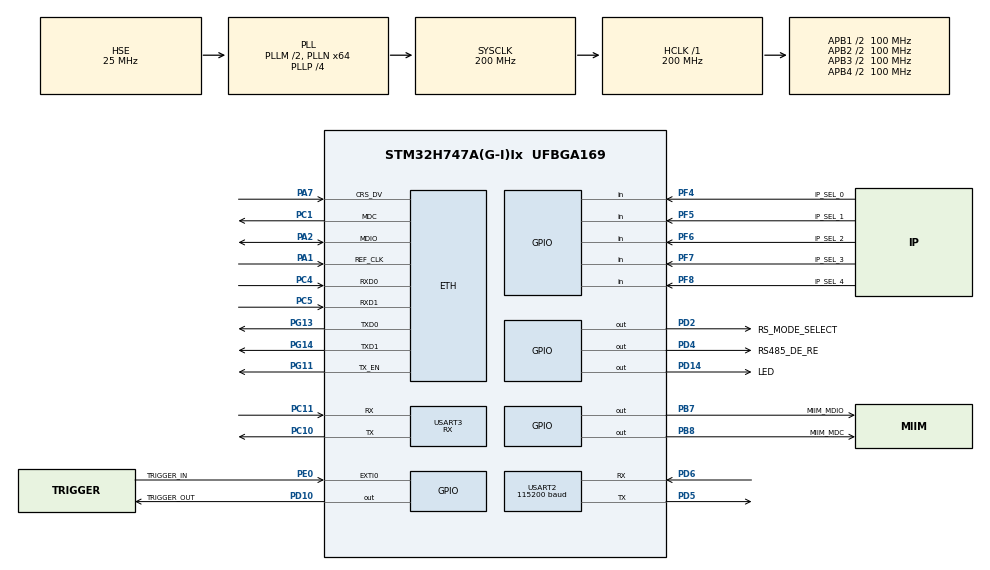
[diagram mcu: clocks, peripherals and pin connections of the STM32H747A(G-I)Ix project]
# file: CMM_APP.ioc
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ADC3.Channel-1\#ChannelRegularConversion=ADC_CHANNEL_TEMPSENSOR
ADC3.ClockPrescalerADC3=ADC_CLOCK_ASYNC_DIV1
ADC3.NbrOfConversionFlag=1
ADC3.OffsetNumber-1\#ChannelRegularConversion=ADC_OFFSET_NONE
ADC3.OffsetSignedSaturation-1\#ChannelRegularConversion=DISABLE
ADC3.Rank-1\#ChannelRegularConversion=1
ADC3.SamplingTime-1\#ChannelRegularConversion=ADC_SAMPLETIME_810CYCLES_5
CORTEX_M7.AccessPermission_S-Cortex_Memory_Protection_Unit_Region1_Settings_S=MPU_REGION_FULL_ACCESS
CORTEX_M7.AccessPermission_S-Cortex_Memory_Protection_Unit_Region2_Settings_S=MPU_REGION_FULL_ACCESS
CORTEX_M7.BaseAddress_S-Cortex_Memory_Protection_Unit_Region1_Settings_S=0x30020000
CORTEX_M7.BaseAddress_S-Cortex_Memory_Protection_Unit_Region2_Settings_S=0x30040000
CORTEX_M7.CPU_DCache=Enabled
CORTEX_M7.CPU_ICache=Enabled
CORTEX_M7.DisableExec_S-Cortex_Memory_Protection_Unit_Region1_Settings_S=MPU_INSTRUCTION_ACCESS_DISABLE
CORTEX_M7.DisableExec_S-Cortex_Memory_Protection_Unit_Region2_Settings_S=MPU_INSTRUCTION_ACCESS_DISABLE
CORTEX_M7.Enable_S-Cortex_Memory_Protection_Unit_Region1_Settings_S=MPU_REGION_ENABLE
CORTEX_M7.Enable_S-Cortex_Memory_Protection_Unit_Region2_Settings_S=MPU_REGION_ENABLE
CORTEX_M7.IsBufferable_S-Cortex_Memory_Protection_Unit_Region2_Settings_S=MPU_ACCESS_BUFFERABLE
CORTEX_M7.IsShareable_S-Cortex_Memory_Protection_Unit_Region2_Settings_S=MPU_ACCESS_SHAREABLE
CORTEX_M7.Size_S-Cortex_Memory_Protection_Unit_Region1_Settings_S=MPU_REGION_SIZE_128KB
CORTEX_M7.Size_S-Cortex_Memory_Protection_Unit_Region2_Settings_S=MPU_REGION_SIZE_512B
CORTEX_M7.TypeExtField_S-Cortex_Memory_Protection_Unit_Region1_Settings_S=MPU_TEX_LEVEL1
CORTEX_M7.default_mode_Activation=1
CortexM4.IPs=CORTEX_M4\:I,FATFS_M4\:I,FREERTOS_M4\:I,IWDG2\:I,OPENAMP_M4\:I,PDM2PCM_M4\:I,PWR,RCC,RESMGR_UTILITY,SYS_M4\:I,USB_DEVICE_M4\:I,USB_HOST_M4\:I,VREFBUF,WWDG2\:I,GPIO,DMA,BDMA,MDMA,NVIC2\:I
CortexM7.IPs=CORTEX_M7\:I,FATFS_M7\:I,FREERTOS_M7\:I,IWDG1\:I,OPENAMP_M7\:I,PDM2PCM_M7\:I,PWR\:I,RCC\:I,RESMGR_UTILITY\:I,SYS\:I,USB_DEVICE_M7\:I,USB_HOST_M7\:I,VREFBUF\:I,WWDG1\:I,GPIO\:I,DMA\:I,BDMA\:I,MDMA\:I,NVIC1\:I,ETH\:I,LWIP\:I,TIM1\:I,DEBUG\:I,USART2\:I,USART3\:I,ADC3\:I,TIM6\:I
CortexM7.Pins=PB7,PE0,PB8,PD4,PD2,PF4,PF5,PF6,PF7,PF8,PD14,PD10
Dma.Request0=USART3_RX
Dma.Request1=USART2_RX
Dma.USART2_RX.1.Direction=DMA_PERIPH_TO_MEMORY
Dma.USART2_RX.1.EventEnable=DISABLE
Dma.USART2_RX.1.FIFOMode=DMA_FIFOMODE_ENABLE
Dma.USART2_RX.1.FIFOThreshold=DMA_FIFO_THRESHOLD_1QUARTERFULL
Dma.USART2_RX.1.Instance=DMA1_Stream1
Dma.USART2_RX.1.MemBurst=DMA_MBURST_SINGLE
Dma.USART2_RX.1.MemDataAlignment=DMA_MDATAALIGN_BYTE
Dma.USART2_RX.1.MemInc=DMA_MINC_ENABLE
Dma.USART2_RX.1.Mode=DMA_CIRCULAR
Dma.USART2_RX.1.PeriphBurst=DMA_PBURST_SINGLE
Dma.USART2_RX.1.PeriphDataAlignment=DMA_PDATAALIGN_BYTE
Dma.USART2_RX.1.PeriphInc=DMA_PINC_DISABLE
Dma.USART2_RX.1.Polarity=HAL_DMAMUX_REQ_GEN_RISING
Dma.USART2_RX.1.Priority=DMA_PRIORITY_HIGH
Dma.USART2_RX.1.RequestNumber=1
Dma.USART2_RX.1.SignalID=NONE
Dma.USART2_RX.1.SyncEnable=DISABLE
Dma.USART2_RX.1.SyncPolarity=HAL_DMAMUX_SYNC_NO_EVENT
Dma.USART2_RX.1.SyncRequestNumber=1
Dma.USART2_RX.1.SyncSignalID=NONE
Dma.USART3_RX.0.Direction=DMA_PERIPH_TO_MEMORY
Dma.USART3_RX.0.EventEnable=DISABLE
Dma.USART3_RX.0.FIFOMode=DMA_FIFOMODE_ENABLE
Dma.USART3_RX.0.FIFOThreshold=DMA_FIFO_THRESHOLD_1QUARTERFULL
Dma.USART3_RX.0.Instance=DMA1_Stream0
Dma.USART3_RX.0.MemBurst=DMA_MBURST_SINGLE
Dma.USART3_RX.0.MemDataAlignment=DMA_MDATAALIGN_BYTE
Dma.USART3_RX.0.MemInc=DMA_MINC_ENABLE
Dma.USART3_RX.0.Mode=DMA_CIRCULAR
Dma.USART3_RX.0.PeriphBurst=DMA_PBURST_SINGLE
Dma.USART3_RX.0.PeriphDataAlignment=DMA_PDATAALIGN_BYTE
Dma.USART3_RX.0.PeriphInc=DMA_PINC_DISABLE
Dma.USART3_RX.0.Polarity=HAL_DMAMUX_REQ_GEN_RISING
Dma.USART3_RX.0.Priority=DMA_PRIORITY_HIGH
Dma.USART3_RX.0.RequestNumber=1
Dma.USART3_RX.0.SignalID=NONE
Dma.USART3_RX.0.SyncEnable=DISABLE
Dma.USART3_RX.0.SyncPolarity=HAL_DMAMUX_SYNC_NO_EVENT
Dma.USART3_RX.0.SyncRequestNumber=1
Dma.USART3_RX.0.SyncSignalID=NONE
ETH.MACAddr=00\:80\:E1\:00\:08\:04
ETH.MediaInterface=HAL_ETH_RMII_MODE
ETH.RxBufferAddress=0x30040200
ETH.RxDescAddress=0x30040000
ETH.TxDescAddress=0x30040100
FREERTOS_M7.Tasks01=defaultTask,24,512,StartDefaultTask,Default,NULL,Dynamic,NULL,NULL;blinkTask,24,512,StartBlinkTask,Default,NULL,Dynamic,NULL,NULL
FREERTOS_M7.configMINIMAL_STACK_SIZE=512
FREERTOS_M7.configTOTAL_HEAP_SIZE=30720
FREERTOS_M7.configUSE_NEWLIB_REENTRANT=1
LWIP.BSP.number=1
LWIP.IP_ADDRESS=192.168.035.084
LWIP.LWIP_BROADCAST_PING=1
LWIP.LWIP_DBG_MIN_LEVEL=LWIP_DBG_MASK_LEVEL
LWIP.LWIP_DHCP=0
LWIP.LWIP_ICMP=1
LWIP.LWIP_MULTICAST_PING=1
LWIP.LWIP_NETCONN_SEM_PER_THREAD=0
LWIP.LWIP_NETIF_HOSTNAME=0
LWIP.LWIP_PERF=0
LWIP.LWIP_RAM_HEAP_POINTER=0x30020000
LWIP.LWIP_SO_RCVBUF=1
LWIP.LWIP_SO_RCVTIMEO=1
LWIP.LWIP_TCPIP_CORE_LOCKING=1
LWIP.LWIP_TCPIP_CORE_LOCKING_INPUT=0
LWIP.MEMP_NUM_SYS_TIMEOUT=300
LWIP.MEMP_NUM_TCP_PCB=50
LWIP.MEM_SIZE=131048
LWIP.NETMASK_ADDRESS=255.255.255.000
LWIP.PBUF_POOL_SIZE=32
LWIP.TCPIP_MBOX_SIZE=16
LWIP.TCPIP_THREAD_STACKSIZE=4096
LWIP.Version=v2.1.2_Cube
LWIP0.BSP.STBoard=false
LWIP0.BSP.api=BSP_COMPONENT_DRIVER
LWIP0.BSP.component=LAN8742
LWIP0.BSP.instance=LAN8742
LWIP0.BSP.name=Driver_PHY
LWIP0.BSP.semaphore=S_LAN8742
LWIP0.BSP.solution=LAN8742
Mcu.Family=STM32H7
Mcu.Name=STM32H747A(G-I)Ix
Mcu.Package=UFBGA169
NVIC1.DMA1_Stream0_IRQn=true\:5\:0\:false\:false\:true\:true\:false\:true\:true
NVIC1.DMA1_Stream1_IRQn=true\:5\:0\:false\:false\:true\:true\:false\:true\:true
NVIC1.ETH_IRQn=true\:5\:0\:false\:false\:true\:true\:true\:true\:true
NVIC1.EXTI0_IRQn=true\:5\:0\:true\:true\:true\:1\:true\:true\:true\:true
NVIC1.PriorityGroup=NVIC_PRIORITYGROUP_4
NVIC1.TIM6_DAC_IRQn=true\:15\:0\:false\:false\:true\:false\:false\:true\:true
NVIC1.TimeBase=TIM6_DAC_IRQn
NVIC1.TimeBaseIP=TIM6
NVIC1.USART2_IRQn=true\:5\:0\:false\:false\:true\:true\:true\:true\:true
NVIC1.USART3_IRQn=true\:5\:0\:false\:false\:true\:true\:true\:true\:true
NVIC2.PriorityGroup=NVIC_PRIORITYGROUP_4
PA1.GPIO_Speed=GPIO_SPEED_FREQ_VERY_HIGH
PA1.Mode=RMII
PA1.PinAttribute=CortexM7
PA1.Signal=ETH_REF_CLK
PA13\ (JTMS/SWDIO).Mode=Serial_Wire
PA13\ (JTMS/SWDIO).PinAttribute=CortexM7
PA13\ (JTMS/SWDIO).Signal=DEBUG_JTMS-SWDIO
PA14\ (JTCK/SWCLK).Mode=Serial_Wire
PA14\ (JTCK/SWCLK).PinAttribute=CortexM7
PA14\ (JTCK/SWCLK).Signal=DEBUG_JTCK-SWCLK
PA2.GPIO_Speed=GPIO_SPEED_FREQ_VERY_HIGH
PA2.Mode=RMII
PA2.PinAttribute=CortexM7
PA2.Signal=ETH_MDIO
PA7.GPIO_Speed=GPIO_SPEED_FREQ_VERY_HIGH
PA7.Mode=RMII
PA7.PinAttribute=CortexM7
PA7.Signal=ETH_CRS_DV
PB7.GPIO_Label=MIIM_MDIO
PB7.GPIO_Speed=GPIO_SPEED_FREQ_VERY_HIGH
PB7.PinAttribute=CortexM7
PB7.Signal=GPIO_Output
PB8.GPIO_Label=MIIM_MDC
PB8.GPIO_PuPd=GPIO_PULLDOWN
PB8.GPIO_Speed=GPIO_SPEED_FREQ_VERY_HIGH
PB8.PinAttribute=CortexM7
PB8.Signal=GPIO_Output
PC1.GPIO_Speed=GPIO_SPEED_FREQ_VERY_HIGH
PC1.Mode=RMII
PC1.PinAttribute=CortexM7
PC1.Signal=ETH_MDC
PC10.GPIO_ModeDefaultPP=GPIO_MODE_AF_PP
PC10.GPIO_PuPd=GPIO_NOPULL
PC10.GPIO_Speed=GPIO_SPEED_FREQ_LOW
PC10.Mode=Asynchronous
PC10.PinAttribute=CortexM7
PC10.Signal=USART3_TX
PC11.GPIO_ModeDefaultPP=GPIO_MODE_AF_PP
PC11.GPIO_PuPd=GPIO_NOPULL
PC11.GPIO_Speed=GPIO_SPEED_FREQ_LOW
PC11.Mode=Asynchronous
PC11.PinAttribute=CortexM7
PC11.Signal=USART3_RX
PC14-OSC32_IN\ (OSC32_IN).Mode=LSE-External-Clock-Source
PC14-OSC32_IN\ (OSC32_IN).PinAttribute=Free
PC14-OSC32_IN\ (OSC32_IN).Signal=RCC_OSC32_IN
PC4.GPIO_Speed=GPIO_SPEED_FREQ_VERY_HIGH
PC4.Mode=RMII
PC4.PinAttribute=CortexM7
PC4.Signal=ETH_RXD0
PC5.GPIO_Speed=GPIO_SPEED_FREQ_VERY_HIGH
PC5.Mode=RMII
PC5.PinAttribute=CortexM7
PC5.Signal=ETH_RXD1
PD10.GPIO_Label=TRIGGER_OUT
PD10.GPIO_PuPd=GPIO_PULLDOWN
PD10.GPIO_Speed=GPIO_SPEED_FREQ_VERY_HIGH
PD10.PinAttribute=CortexM7
PD10.Signal=GPIO_Output
PD14.GPIO_Label=LED
PD14.PinAttribute=CortexM7
PD14.Signal=GPIO_Output
PD2.GPIO_Label=RS_MODE_SELECT
PD2.GPIO_PuPd=GPIO_PULLDOWN
PD2.PinAttribute=CortexM7
PD2.Signal=GPIO_Output
PD4.GPIO_Label=RS485_DE_RE
PD4.GPIO_PuPd=GPIO_PULLDOWN
PD4.PinAttribute=CortexM7
PD4.Signal=GPIO_Output
PD5.Mode=Asynchronous
PD5.PinAttribute=CortexM7
PD5.Signal=USART2_TX
PD6.Mode=Asynchronous
PD6.PinAttribute=CortexM7
PD6.Signal=USART2_RX
PE0.GPIO_Label=TRIGGER_IN
PE0.GPIO_ModeDefaultEXTI=GPIO_MODE_IT_RISING_FALLING
PE0.PinAttribute=CortexM7
PE0.Signal=GPXTI0
PF4.GPIO_Label=IP_SEL_0
PF4.GPIO_PuPd=GPIO_PULLDOWN
PF4.PinAttribute=CortexM7
PF4.Signal=GPIO_Input
PF5.GPIO_Label=IP_SEL_1
PF5.GPIO_PuPd=GPIO_PULLDOWN
PF5.PinAttribute=CortexM7
PF5.Signal=GPIO_Input
PF6.GPIO_Label=IP_SEL_2
PF6.GPIO_PuPd=GPIO_PULLDOWN
PF6.PinAttribute=CortexM7
PF6.Signal=GPIO_Input
PF7.GPIO_Label=IP_SEL_3
PF7.GPIO_PuPd=GPIO_PULLDOWN
PF7.PinAttribute=CortexM7
PF7.Signal=GPIO_Input
PF8.GPIO_Label=IP_SEL_4
PF8.GPIO_PuPd=GPIO_PULLDOWN
PF8.PinAttribute=CortexM7
PF8.Signal=GPIO_Input
PG11.GPIO_Speed=GPIO_SPEED_FREQ_VERY_HIGH
PG11.Mode=RMII
PG11.PinAttribute=CortexM7
PG11.Signal=ETH_TX_EN
PG13.GPIO_Speed=GPIO_SPEED_FREQ_VERY_HIGH
PG13.Mode=RMII
PG13.PinAttribute=CortexM7
PG13.Signal=ETH_TXD0
PG14.GPIO_Speed=GPIO_SPEED_FREQ_VERY_HIGH
PG14.Mode=RMII
PG14.PinAttribute=CortexM7
PG14.Signal=ETH_TXD1
PH0-OSC_IN\ (PH0).Mode=HSE-External-Clock-Source
PH0-OSC_IN\ (PH0).PinAttribute=Free
PH0-OSC_IN\ (PH0).Signal=RCC_OSC_IN
ProjectManager.HeapSize=M4-0x200,M7-0x200
ProjectManager.StackSize=M4-0x400,M7-0x400
ProjectManager.TargetToolchain=STM32CubeIDE
RCC.ADCFreq_Value=50000000
RCC.APB1Freq_Value=100000000
RCC.APB2Freq_Value=100000000
RCC.APB3Freq_Value=100000000
RCC.APB4Freq_Value=100000000
RCC.CortexFreq_Value=200000000
RCC.D1PPRE=RCC_APB3_DIV2
RCC.D2PPRE1=RCC_APB1_DIV2
RCC.D2PPRE2=RCC_APB2_DIV2
RCC.D3PPRE=RCC_APB4_DIV2
RCC.DIVM1=2
RCC.DIVM2=2
RCC.DIVM3=2
RCC.DIVN1=64
RCC.DIVN2=64
RCC.DIVN3=64
RCC.DIVP1=4
RCC.DIVP2=16
RCC.DIVR1=4
RCC.HCLKFreq_Value=200000000
RCC.PLLSourceVirtual=RCC_PLLSOURCE_HSE
RCC.PWR_Regulator_Voltage_Scale=PWR_REGULATOR_VOLTAGE_SCALE0
RCC.SYSCLKFreq_VALUE=200000000
RCC.SYSCLKSource=RCC_SYSCLKSOURCE_PLLCLK
RCC.SupplySource=PWR_LDO_SUPPLY
RCC.USBFreq_Value=400000000
SYS.userName=SYS_M7
TIM1.AutoReloadPreload=TIM_AUTORELOAD_PRELOAD_ENABLE
TIM1.Prescaler=59
USART2.AutoBaudRateEnableParam=UART_ADVFEATURE_AUTOBAUDRATE_DISABLE
USART2.BaudRate=115200
USART2.DataInvertParam=ADVFEATURE_DATAINV_DISABLE
USART2.VirtualMode-Asynchronous=VM_ASYNC
USART3.AutoBaudRateEnableParam=UART_ADVFEATURE_AUTOBAUDRATE_DISABLE
USART3.Mode=MODE_RX
USART3.VirtualMode-Asynchronous=VM_ASYNC
VP_ADC3_TempSens_Input.Mode=IN-TempSens
VP_FREERTOS_M7_VS_CMSIS_V2.Mode=CMSIS_V2
VP_LWIP_VS_Enabled.Mode=Enabled
VP_SYS_M4_VS_Systick.Mode=SysTick
VP_SYS_VS_tim6.Mode=TIM6
VP_TIM1_VS_ClockSourceINT.Mode=Internal
board=custom

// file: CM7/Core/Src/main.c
/* USER CODE BEGIN Header */
/**
  ******************************************************************************
  * @file           : main.c
  * @brief          : Main program body
  ******************************************************************************
  * @attention
  *
  * Copyright (c) 2024 STMicroelectronics.
  * All rights reserved.
  *
  * This software is licensed under terms that can be found in the LICENSE file
  * in the root directory of this software component.
  * If no LICENSE file comes with this software, it is provided AS-IS.
  *
  ******************************************************************************
  */
/* USER CODE END Header */
#include "main.h"
#include "cmsis_os.h"
#include "lwip.h"

/* USER CODE BEGIN Includes */
#include "miim_library.h"
#include "lwiperf.h"
#include "serial_comm.h"
#include "udpclient.h"
#include "MQTTClient.h"
#include "MQTTTopic.h"
#include "mqtt_opts.h"
/* USER CODE END Includes */

/* USER CODE BEGIN PTD */
extern mqtt_client_t* mqtt_client;  // Declare the external MQTT client instance
int _write(int file, char *ptr, int len)
{
  int DataIdx;

  for (DataIdx = 0; DataIdx < len; DataIdx++)
  {
    ITM_SendChar(*ptr++);
  }
  return len;
}
/* USER CODE END PTD */

/* USER CODE BEGIN PD */

#ifndef HSEM_ID_0
#define HSEM_ID_0 (0U) /* HW semaphore 0*/
#endif

// Calibration values for temperature sensor from STM32 datasheet
#define TS_CAL1_ADDR ((uint16_t*) 0x1FF1E820) // Address for TS_CAL1
#define TS_CAL2_ADDR ((uint16_t*) 0x1FF1E840) // Address for TS_CAL2
#define MY_TS_CAL1_TEMP 30.0f  // Calibration temperature for TS_CAL1 (30°C)
#define MY_TS_CAL2_TEMP 110.0f // Calibration temperature for TS_CAL2 (110°C)

/* USER CODE END PD */

ADC_HandleTypeDef hadc3;

TIM_HandleTypeDef htim1;

UART_HandleTypeDef huart2;
UART_HandleTypeDef huart3;
DMA_HandleTypeDef hdma_usart2_rx;
DMA_HandleTypeDef hdma_usart3_rx;

/* Definitions for defaultTask */
osThreadId_t defaultTaskHandle;
const osThreadAttr_t defaultTask_attributes = {
  .name = "defaultTask",
  .stack_size = 512 * 4,
  .priority = (osPriority_t) osPriorityNormal,
};
/* Definitions for blinkTask */
osThreadId_t blinkTaskHandle;
const osThreadAttr_t blinkTask_attributes = {
  .name = "blinkTask",
  .stack_size = 512 * 4,
  .priority = (osPriority_t) osPriorityNormal,
};
/* USER CODE BEGIN PV */
int slot = 0;  // Define the global variable for the slot number
/* USER CODE END PV */

void SystemClock_Config(void);
static void MPU_Config(void);
static void MX_GPIO_Init(void);
static void MX_DMA_Init(void);
static void MX_TIM1_Init(void);
static void MX_USART2_UART_Init(void);
static void MX_USART3_UART_Init(void);
static void MX_ADC3_Init(void);
void StartDefaultTask(void *argument);
void StartBlinkTask(void *argument);

static void MX_NVIC_Init(void);

int main(void)
{

  /* USER CODE BEGIN 1 */
//    __HAL_RCC_TIM6_CLK_ENABLE();
//    __HAL_RCC_TIM6_FORCE_RESET();
//    __HAL_RCC_TIM6_RELEASE_RESET();
  /* USER CODE END 1 */
/* USER CODE BEGIN Boot_Mode_Sequence_0 */
  int32_t timeout;
/* USER CODE END Boot_Mode_Sequence_0 */

  /* MPU Configuration--------------------------------------------------------*/
  MPU_Config();

  /* Enable the CPU Cache */
  SCB->VTOR = 0x08100000;

  /* Enable I-Cache---------------------------------------------------------*/
  SCB_EnableICache();

  /* Enable D-Cache---------------------------------------------------------*/
  SCB_EnableDCache();

/* USER CODE BEGIN Boot_Mode_Sequence_1 */
  /* Wait until CPU2 boots and enters in stop mode or timeout*/
//  timeout = 0xFFFF;
//  while((__HAL_RCC_GET_FLAG(RCC_FLAG_D2CKRDY) != RESET) && (timeout-- > 0));
//  if ( timeout < 0 )
//  {
//  Error_Handler();
//  }
/* USER CODE END Boot_Mode_Sequence_1 */
  /* MCU Configuration--------------------------------------------------------*/

  /* Reset of all peripherals, Initializes the Flash interface and the Systick. */
  HAL_Init();

  /* Configure the system clock */
  SystemClock_Config();
/* USER CODE BEGIN Boot_Mode_Sequence_2 */
/* When system initialization is finished, Cortex-M7 will release Cortex-M4 by means of
HSEM notification */
/*HW semaphore Clock enable*/
//__HAL_RCC_HSEM_CLK_ENABLE();
///*Take HSEM */
//HAL_HSEM_FastTake(HSEM_ID_0);
///*Release HSEM in order to notify the CPU2(CM4)*/
//HAL_HSEM_Release(HSEM_ID_0,0);
///* wait until CPU2 wakes up from stop mode */
//timeout = 0xFFFF;
//while((__HAL_RCC_GET_FLAG(RCC_FLAG_D2CKRDY) == RESET) && (timeout-- > 0));
//if ( timeout < 0 )
//{
//Error_Handler();
//}
/* USER CODE END Boot_Mode_Sequence_2 */

  /* Initialize all configured peripherals */
  MX_GPIO_Init();
  MX_DMA_Init();
  MX_TIM1_Init();
  MX_USART2_UART_Init();
  MX_USART3_UART_Init();
  MX_ADC3_Init();

  /* Initialize interrupts */
  MX_NVIC_Init();
  /* USER CODE BEGIN 2 */
  printf("Initializing\n");
  /* USER CODE END 2 */

  /* Init scheduler */
  osKernelInitialize();

  /* Create the thread(s) */
  /* creation of defaultTask */
  defaultTaskHandle = osThreadNew(StartDefaultTask, NULL, &defaultTask_attributes);

  /* creation of blinkTask */
  blinkTaskHandle = osThreadNew(StartBlinkTask, NULL, &blinkTask_attributes);

  /* Start scheduler */
  osKernelStart();

  /* We should never get here as control is now taken by the scheduler */

  /* Infinite loop */
  while (1)
  {

  }
}

void SystemClock_Config(void)
{
  RCC_OscInitTypeDef RCC_OscInitStruct = {0};
  RCC_ClkInitTypeDef RCC_ClkInitStruct = {0};

  /** Supply configuration update enable
  */
  HAL_PWREx_ConfigSupply(PWR_LDO_SUPPLY);

  /** Configure the main internal regulator output voltage
  */
  __HAL_PWR_VOLTAGESCALING_CONFIG(PWR_REGULATOR_VOLTAGE_SCALE1);

  while(!__HAL_PWR_GET_FLAG(PWR_FLAG_VOSRDY)) {}

  __HAL_RCC_SYSCFG_CLK_ENABLE();
  __HAL_PWR_VOLTAGESCALING_CONFIG(PWR_REGULATOR_VOLTAGE_SCALE0);

  while(!__HAL_PWR_GET_FLAG(PWR_FLAG_VOSRDY)) {}

  /** Initializes the RCC Oscillators according to the specified parameters
  * in the RCC_OscInitTypeDef structure.
  */
  RCC_OscInitStruct.OscillatorType = RCC_OSCILLATORTYPE_HSE;
  RCC_OscInitStruct.HSEState = RCC_HSE_BYPASS;
  RCC_OscInitStruct.PLL.PLLState = RCC_PLL_ON;
  RCC_OscInitStruct.PLL.PLLSource = RCC_PLLSOURCE_HSE;
  RCC_OscInitStruct.PLL.PLLM = 2;
  RCC_OscInitStruct.PLL.PLLN = 64;
  RCC_OscInitStruct.PLL.PLLP = 4;
  RCC_OscInitStruct.PLL.PLLQ = 2;
  RCC_OscInitStruct.PLL.PLLR = 4;
  RCC_OscInitStruct.PLL.PLLRGE = RCC_PLL1VCIRANGE_3;
  RCC_OscInitStruct.PLL.PLLVCOSEL = RCC_PLL1VCOWIDE;
  RCC_OscInitStruct.PLL.PLLFRACN = 0;
  if (HAL_RCC_OscConfig(&RCC_OscInitStruct) != HAL_OK)
  {
    Error_Handler();
  }

  /** Initializes the CPU, AHB and APB buses clocks
  */
  RCC_ClkInitStruct.ClockType = RCC_CLOCKTYPE_HCLK|RCC_CLOCKTYPE_SYSCLK
                              |RCC_CLOCKTYPE_PCLK1|RCC_CLOCKTYPE_PCLK2
                              |RCC_CLOCKTYPE_D3PCLK1|RCC_CLOCKTYPE_D1PCLK1;
  RCC_ClkInitStruct.SYSCLKSource = RCC_SYSCLKSOURCE_PLLCLK;
  RCC_ClkInitStruct.SYSCLKDivider = RCC_SYSCLK_DIV1;
  RCC_ClkInitStruct.AHBCLKDivider = RCC_HCLK_DIV1;
  RCC_ClkInitStruct.APB3CLKDivider = RCC_APB3_DIV2;
  RCC_ClkInitStruct.APB1CLKDivider = RCC_APB1_DIV2;
  RCC_ClkInitStruct.APB2CLKDivider = RCC_APB2_DIV2;
  RCC_ClkInitStruct.APB4CLKDivider = RCC_APB4_DIV2;

  if (HAL_RCC_ClockConfig(&RCC_ClkInitStruct, FLASH_LATENCY_2) != HAL_OK)
  {
    Error_Handler();
  }
}

/**
  * @brief NVIC Configuration.
  * @retval None
  */
static void MX_NVIC_Init(void)
{
  /* EXTI0_IRQn interrupt configuration */
  HAL_NVIC_SetPriority(EXTI0_IRQn, 5, 0);
  HAL_NVIC_EnableIRQ(EXTI0_IRQn);
}

static void MX_ADC3_Init(void)
{

  ADC_ChannelConfTypeDef sConfig = {0};

  /** Common config
  */
  hadc3.Instance = ADC3;
  hadc3.Init.ClockPrescaler = ADC_CLOCK_ASYNC_DIV1;
  hadc3.Init.ScanConvMode = ADC_SCAN_DISABLE;
  hadc3.Init.EOCSelection = ADC_EOC_SINGLE_CONV;
  hadc3.Init.LowPowerAutoWait = DISABLE;
  hadc3.Init.ContinuousConvMode = DISABLE;
  hadc3.Init.NbrOfConversion = 1;
  hadc3.Init.DiscontinuousConvMode = DISABLE;
  hadc3.Init.ExternalTrigConv = ADC_SOFTWARE_START;
  hadc3.Init.ExternalTrigConvEdge = ADC_EXTERNALTRIGCONVEDGE_NONE;
  hadc3.Init.ConversionDataManagement = ADC_CONVERSIONDATA_DR;
  hadc3.Init.Overrun = ADC_OVR_DATA_PRESERVED;
  hadc3.Init.LeftBitShift = ADC_LEFTBITSHIFT_NONE;
  hadc3.Init.OversamplingMode = DISABLE;
  hadc3.Init.Oversampling.Ratio = 1;
  if (HAL_ADC_Init(&hadc3) != HAL_OK)
  {
    Error_Handler();
  }
  hadc3.Init.Resolution = ADC_RESOLUTION_16B;
  if (HAL_ADC_Init(&hadc3) != HAL_OK)
  {
    Error_Handler();
  }

  /** Configure Regular Channel
  */
  sConfig.Channel = ADC_CHANNEL_TEMPSENSOR;
  sConfig.Rank = ADC_REGULAR_RANK_1;
  sConfig.SamplingTime = ADC_SAMPLETIME_810CYCLES_5;
  sConfig.SingleDiff = ADC_SINGLE_ENDED;
  sConfig.OffsetNumber = ADC_OFFSET_NONE;
  sConfig.Offset = 0;
  sConfig.OffsetSignedSaturation = DISABLE;
  if (HAL_ADC_ConfigChannel(&hadc3, &sConfig) != HAL_OK)
  {
    Error_Handler();
  }

}

static void MX_TIM1_Init(void)
{

  TIM_ClockConfigTypeDef sClockSourceConfig = {0};
  TIM_MasterConfigTypeDef sMasterConfig = {0};

  htim1.Instance = TIM1;
  htim1.Init.Prescaler = 59;
  htim1.Init.CounterMode = TIM_COUNTERMODE_UP;
  htim1.Init.Period = 65535;
  htim1.Init.ClockDivision = TIM_CLOCKDIVISION_DIV1;
  htim1.Init.RepetitionCounter = 0;
  htim1.Init.AutoReloadPreload = TIM_AUTORELOAD_PRELOAD_ENABLE;
  if (HAL_TIM_Base_Init(&htim1) != HAL_OK)
  {
    Error_Handler();
  }
  sClockSourceConfig.ClockSource = TIM_CLOCKSOURCE_INTERNAL;
  if (HAL_TIM_ConfigClockSource(&htim1, &sClockSourceConfig) != HAL_OK)
  {
    Error_Handler();
  }
  sMasterConfig.MasterOutputTrigger = TIM_TRGO_RESET;
  sMasterConfig.MasterOutputTrigger2 = TIM_TRGO2_RESET;
  sMasterConfig.MasterSlaveMode = TIM_MASTERSLAVEMODE_DISABLE;
  if (HAL_TIMEx_MasterConfigSynchronization(&htim1, &sMasterConfig) != HAL_OK)
  {
    Error_Handler();
  }

}

static void MX_USART2_UART_Init(void)
{

  huart2.Instance = USART2;
  huart2.Init.BaudRate = 115200;
  huart2.Init.WordLength = UART_WORDLENGTH_8B;
  huart2.Init.StopBits = UART_STOPBITS_1;
  huart2.Init.Parity = UART_PARITY_NONE;
  huart2.Init.Mode = UART_MODE_TX_RX;
  huart2.Init.HwFlowCtl = UART_HWCONTROL_NONE;
  huart2.Init.OverSampling = UART_OVERSAMPLING_16;
  huart2.Init.OneBitSampling = UART_ONE_BIT_SAMPLE_DISABLE;
  huart2.Init.ClockPrescaler = UART_PRESCALER_DIV1;
  huart2.AdvancedInit.AdvFeatureInit = UART_ADVFEATURE_NO_INIT;
  if (HAL_UART_Init(&huart2) != HAL_OK)
  {
    Error_Handler();
  }
  if (HAL_UARTEx_SetTxFifoThreshold(&huart2, UART_TXFIFO_THRESHOLD_1_8) != HAL_OK)
  {
    Error_Handler();
  }
  if (HAL_UARTEx_SetRxFifoThreshold(&huart2, UART_RXFIFO_THRESHOLD_1_8) != HAL_OK)
  {
    Error_Handler();
  }
  if (HAL_UARTEx_DisableFifoMode(&huart2) != HAL_OK)
  {
    Error_Handler();
  }

}

static void MX_USART3_UART_Init(void)
{

  huart3.Instance = USART3;
  huart3.Init.BaudRate = 115200;
  huart3.Init.WordLength = UART_WORDLENGTH_8B;
  huart3.Init.StopBits = UART_STOPBITS_1;
  huart3.Init.Parity = UART_PARITY_NONE;
  huart3.Init.Mode = UART_MODE_RX;
  huart3.Init.HwFlowCtl = UART_HWCONTROL_NONE;
  huart3.Init.OverSampling = UART_OVERSAMPLING_16;
  huart3.Init.OneBitSampling = UART_ONE_BIT_SAMPLE_DISABLE;
  huart3.Init.ClockPrescaler = UART_PRESCALER_DIV1;
  huart3.AdvancedInit.AdvFeatureInit = UART_ADVFEATURE_NO_INIT;
  if (HAL_UART_Init(&huart3) != HAL_OK)
  {
    Error_Handler();
  }
  if (HAL_UARTEx_SetTxFifoThreshold(&huart3, UART_TXFIFO_THRESHOLD_1_8) != HAL_OK)
  {
    Error_Handler();
  }
  if (HAL_UARTEx_SetRxFifoThreshold(&huart3, UART_RXFIFO_THRESHOLD_1_8) != HAL_OK)
  {
    Error_Handler();
  }
  if (HAL_UARTEx_DisableFifoMode(&huart3) != HAL_OK)
  {
    Error_Handler();
  }

}

static void MX_DMA_Init(void)
{

  /* DMA controller clock enable */
  __HAL_RCC_DMA1_CLK_ENABLE();

  /* DMA interrupt init */
  /* DMA1_Stream0_IRQn interrupt configuration */
  HAL_NVIC_SetPriority(DMA1_Stream0_IRQn, 5, 0);
  HAL_NVIC_EnableIRQ(DMA1_Stream0_IRQn);
  /* DMA1_Stream1_IRQn interrupt configuration */
  HAL_NVIC_SetPriority(DMA1_Stream1_IRQn, 5, 0);
  HAL_NVIC_EnableIRQ(DMA1_Stream1_IRQn);

}

static void MX_GPIO_Init(void)
{
  GPIO_InitTypeDef GPIO_InitStruct = {0};

  /* GPIO Ports Clock Enable */
  __HAL_RCC_GPIOA_CLK_ENABLE();
  __HAL_RCC_GPIOD_CLK_ENABLE();
  __HAL_RCC_GPIOB_CLK_ENABLE();
  __HAL_RCC_GPIOC_CLK_ENABLE();
  __HAL_RCC_GPIOE_CLK_ENABLE();
  __HAL_RCC_GPIOG_CLK_ENABLE();
  __HAL_RCC_GPIOF_CLK_ENABLE();

  /*Configure GPIO pin Output Level */
  HAL_GPIO_WritePin(GPIOB, MIIM_MDIO_Pin|MIIM_MDC_Pin, GPIO_PIN_RESET);

  /*Configure GPIO pin Output Level */
  HAL_GPIO_WritePin(GPIOD, RS485_DE_RE_Pin|RS_MODE_SELECT_Pin|LED_Pin|TRIGGER_OUT_Pin, GPIO_PIN_RESET);

  /*Configure GPIO pin : MIIM_MDIO_Pin */
  GPIO_InitStruct.Pin = MIIM_MDIO_Pin;
  GPIO_InitStruct.Mode = GPIO_MODE_OUTPUT_PP;
  GPIO_InitStruct.Pull = GPIO_NOPULL;
  GPIO_InitStruct.Speed = GPIO_SPEED_FREQ_VERY_HIGH;
  HAL_GPIO_Init(MIIM_MDIO_GPIO_Port, &GPIO_InitStruct);

  /*Configure GPIO pin : TRIGGER_IN_Pin */
  GPIO_InitStruct.Pin = TRIGGER_IN_Pin;
  GPIO_InitStruct.Mode = GPIO_MODE_IT_RISING_FALLING;
  GPIO_InitStruct.Pull = GPIO_NOPULL;
  HAL_GPIO_Init(TRIGGER_IN_GPIO_Port, &GPIO_InitStruct);

  /*Configure GPIO pin : MIIM_MDC_Pin */
  GPIO_InitStruct.Pin = MIIM_MDC_Pin;
  GPIO_InitStruct.Mode = GPIO_MODE_OUTPUT_PP;
  GPIO_InitStruct.Pull = GPIO_PULLDOWN;
  GPIO_InitStruct.Speed = GPIO_SPEED_FREQ_VERY_HIGH;
  HAL_GPIO_Init(MIIM_MDC_GPIO_Port, &GPIO_InitStruct);

  /*Configure GPIO pins : RS485_DE_RE_Pin RS_MODE_SELECT_Pin */
  GPIO_InitStruct.Pin = RS485_DE_RE_Pin|RS_MODE_SELECT_Pin;
  GPIO_InitStruct.Mode = GPIO_MODE_OUTPUT_PP;
  GPIO_InitStruct.Pull = GPIO_PULLDOWN;
  GPIO_InitStruct.Speed = GPIO_SPEED_FREQ_LOW;
  HAL_GPIO_Init(GPIOD, &GPIO_InitStruct);

  /*Configure GPIO pins : IP_SEL_0_Pin IP_SEL_1_Pin IP_SEL_2_Pin IP_SEL_3_Pin
                           IP_SEL_4_Pin */
  GPIO_InitStruct.Pin = IP_SEL_0_Pin|IP_SEL_1_Pin|IP_SEL_2_Pin|IP_SEL_3_Pin
                          |IP_SEL_4_Pin;
  GPIO_InitStruct.Mode = GPIO_MODE_INPUT;
  GPIO_InitStruct.Pull = GPIO_PULLDOWN;
  HAL_GPIO_Init(GPIOF, &GPIO_InitStruct);

  /*Configure GPIO pin : LED_Pin */
  GPIO_InitStruct.Pin = LED_Pin;
  GPIO_InitStruct.Mode = GPIO_MODE_OUTPUT_PP;
  GPIO_InitStruct.Pull = GPIO_NOPULL;
  GPIO_InitStruct.Speed = GPIO_SPEED_FREQ_LOW;
  HAL_GPIO_Init(LED_GPIO_Port, &GPIO_InitStruct);

  /*Configure GPIO pin : TRIGGER_OUT_Pin */
  GPIO_InitStruct.Pin = TRIGGER_OUT_Pin;
  GPIO_InitStruct.Mode = GPIO_MODE_OUTPUT_PP;
  GPIO_InitStruct.Pull = GPIO_PULLDOWN;
  GPIO_InitStruct.Speed = GPIO_SPEED_FREQ_VERY_HIGH;
  HAL_GPIO_Init(TRIGGER_OUT_GPIO_Port, &GPIO_InitStruct);

}

/* USER CODE BEGIN 4 */
/**
  * @brief  GPIO EXTI callback
  * @param  GPIO_Pin: Specifies the pins connected to EXTI line
  * @retval None
  */
void HAL_GPIO_EXTI_Callback(uint16_t GPIO_Pin)
{
    // Check if the interrupt is triggered by TRIGGER_IN_Pin
    if (GPIO_Pin == TRIGGER_IN_Pin)
    {
        // Read the state of the pin
        GPIO_PinState pinState = HAL_GPIO_ReadPin(TRIGGER_IN_GPIO_Port, TRIGGER_IN_Pin);

        // Send UDP message based on the pin state
        if (pinState == GPIO_PIN_RESET)
        {
//            HAL_GPIO_WritePin(TRIGGER_OUT_GPIO_Port, TRIGGER_OUT_Pin, GPIO_PIN_SET);
        	udpsend_trigger("1", 1); // For trigger data
        }
        else
        {
//            HAL_GPIO_WritePin(TRIGGER_OUT_GPIO_Port, TRIGGER_OUT_Pin, GPIO_PIN_RESET);
        	udpsend_trigger("0", 1); // For trigger data
        }
    }
}

/* USER CODE END 4 */

void StartDefaultTask(void *argument)
{
	  osDelay(500);
  /* init code for LWIP */
	  MX_LWIP_Init();
  /* USER CODE BEGIN 5 */
	  osDelay(500);
	  ETH_PHY_IO_WriteReg(0, 0, 8448);
	  osDelay(500);

    // Variable to store ADC values and temperature
    uint32_t adc_value;
    float temperature;

    // Get the calibration values from memory
    uint16_t ts_cal1 = *TS_CAL1_ADDR;
    uint16_t ts_cal2 = *TS_CAL2_ADDR;

    const float TS_CAL1_TEMP = 30.0f;
    const float TS_CAL2_TEMP = 110.0f;

    // Topic for publishing temperature updates
    char temperature_topic[128];
    snprintf(temperature_topic, sizeof(temperature_topic), "CMM/slot%d/status/temperature", slot);
    extern struct mqtt_connect_client_info_t mqtt_client_info;
    osDelay(1000);
    mqtt_example_init();  // Initial MQTT connection
    osDelay(50);

    for (;;)
    {
        // Check if MQTT client is connected
        if (mqtt_client_is_connected(mqtt_client)) {
            // MQTT client is connected, proceed to read sensor and publish data
        	handle_status_ethernet_link(mqtt_client, &mqtt_client_info, slot);
            // Start ADC conversion for temperature
            HAL_ADC_Start(&hadc3);
            HAL_ADC_PollForConversion(&hadc3, HAL_MAX_DELAY);
            adc_value = HAL_ADC_GetValue(&hadc3);

            // Calculate temperature
            temperature = ((float)(adc_value - ts_cal1) * (TS_CAL2_TEMP - TS_CAL1_TEMP) / (float)(ts_cal2 - ts_cal1)) + TS_CAL1_TEMP;

            // Print and publish the temperature
            printf("Temperature: %.2f°C\n", temperature);

            // Publish temperature data to the MQTT broker
            char temperature_message[32];
            snprintf(temperature_message, sizeof(temperature_message), "%.2f", temperature);

            err_t err = mqtt_publish(mqtt_client,
                                     temperature_topic,          // Topic
                                     temperature_message,        // Message
                                     strlen(temperature_message),// Message length
                                     1,                          // QoS level
                                     0,                          // Retain flag
                                     mqtt_request_cb,            // Callback function
                                     LWIP_CONST_CAST(void*, &mqtt_client_info)); // Callback argument

            if (err != ERR_OK) {
                LWIP_PLATFORM_DIAG(("Failed to publish temperature, error %d\n", err));
            }
        } else {
            // MQTT client is not connected, attempt to reconnect
            LWIP_PLATFORM_DIAG(("MQTT client not connected, attempting to reconnect...\n"));
            mqtt_example_init();  // Attempt to reconnect
        }

        // Delay for 2 seconds
        osDelay(2000);
    }
  /* USER CODE END 5 */
}

void StartBlinkTask(void *argument)
{
  /* USER CODE BEGIN StartBlinkTask */
  /* Infinite loop */
  for(;;)
  {
	HAL_GPIO_WritePin(LED_GPIO_Port, LED_Pin, GPIO_PIN_RESET);
	osDelay(500);
	HAL_GPIO_WritePin(LED_GPIO_Port, LED_Pin, GPIO_PIN_SET);
	osDelay(500);
  }
  /* USER CODE END StartBlinkTask */
}

 /* MPU Configuration */

void MPU_Config(void)
{
  MPU_Region_InitTypeDef MPU_InitStruct = {0};

  /* Disables the MPU */
  HAL_MPU_Disable();

  /** Initializes and configures the Region and the memory to be protected
  */
  MPU_InitStruct.Enable = MPU_REGION_ENABLE;
  MPU_InitStruct.Number = MPU_REGION_NUMBER0;
  MPU_InitStruct.BaseAddress = 0x0;
  MPU_InitStruct.Size = MPU_REGION_SIZE_4GB;
  MPU_InitStruct.SubRegionDisable = 0x87;
  MPU_InitStruct.TypeExtField = MPU_TEX_LEVEL0;
  MPU_InitStruct.AccessPermission = MPU_REGION_NO_ACCESS;
  MPU_InitStruct.DisableExec = MPU_INSTRUCTION_ACCESS_DISABLE;
  MPU_InitStruct.IsShareable = MPU_ACCESS_SHAREABLE;
  MPU_InitStruct.IsCacheable = MPU_ACCESS_NOT_CACHEABLE;
  MPU_InitStruct.IsBufferable = MPU_ACCESS_NOT_BUFFERABLE;

  HAL_MPU_ConfigRegion(&MPU_InitStruct);

  /** Initializes and configures the Region and the memory to be protected
  */
  MPU_InitStruct.Number = MPU_REGION_NUMBER1;
  MPU_InitStruct.BaseAddress = 0x30020000;
  MPU_InitStruct.Size = MPU_REGION_SIZE_128KB;
  MPU_InitStruct.SubRegionDisable = 0x0;
  MPU_InitStruct.TypeExtField = MPU_TEX_LEVEL1;
  MPU_InitStruct.AccessPermission = MPU_REGION_FULL_ACCESS;
  MPU_InitStruct.IsShareable = MPU_ACCESS_NOT_SHAREABLE;

  HAL_MPU_ConfigRegion(&MPU_InitStruct);

  /** Initializes and configures the Region and the memory to be protected
  */
  MPU_InitStruct.Number = MPU_REGION_NUMBER2;
  MPU_InitStruct.BaseAddress = 0x30040000;
  MPU_InitStruct.Size = MPU_REGION_SIZE_512B;
  MPU_InitStruct.TypeExtField = MPU_TEX_LEVEL0;
  MPU_InitStruct.IsShareable = MPU_ACCESS_SHAREABLE;
  MPU_InitStruct.IsBufferable = MPU_ACCESS_BUFFERABLE;

  HAL_MPU_ConfigRegion(&MPU_InitStruct);
  /* Enables the MPU */
  HAL_MPU_Enable(MPU_PRIVILEGED_DEFAULT);

}

void HAL_TIM_PeriodElapsedCallback(TIM_HandleTypeDef *htim)
{
  if (htim->Instance == TIM6) {
    HAL_IncTick();
  }
}

void Error_Handler(void)
{
  __disable_irq();
  while (1)
  {
  }
}
